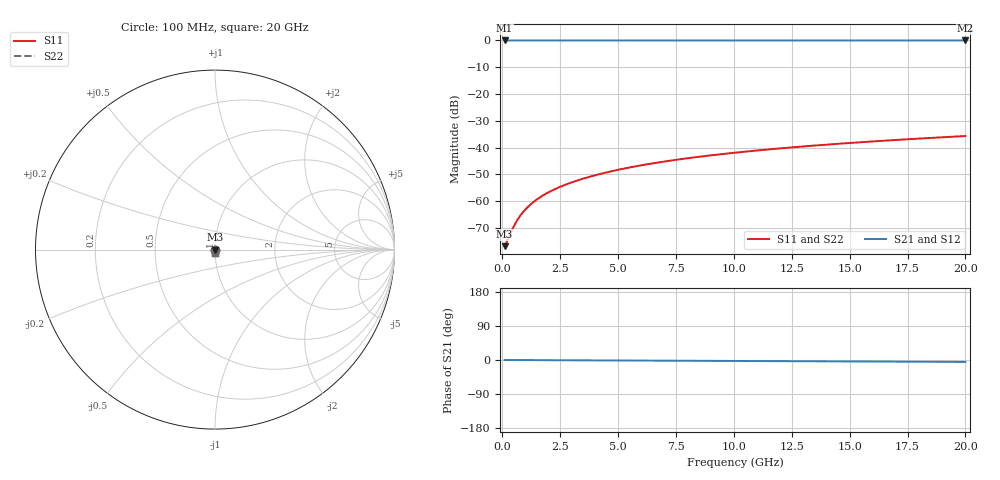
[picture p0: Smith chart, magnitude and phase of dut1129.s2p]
! Touchstone file exported from HFSS 2026.1.0
!  File:  C:/ffzhzh/LocalFiles/Ansys_Project_Files/temp_train_TSV_1129_1783191098_55132.aedt
!  Generated:  02:53:09 AM Jul  5, 2026
!  Design:  TSV
!  Project:  temp_train_TSV_1129_1783191098_55132
! Variables:
!  h_bsmrdl = 2um
!  h_ox = 20um
!  h_rdl = 5um
!  h_sub = 50.31um
!  h_tmrdl = 5um
!  h_tsv = 50.31um
!  h_via = 3um
!  l_bsmrdl = 300um
!  l_sub = 415.56um
!  l_tmrdl = 200um
!  m_sub = 200um
!  pitch = 26.15um
!  r_tsv = 7.78um
!  s_tmrdl = 10um
!  w_bsmrdl = 18um
!  w_sub = 500um
!  w_tmrdl = 12um
!  x_tsv_center1 = 206um
!  x_tsv_center2 = 524um
!  x_tsv_center3 = 736um
!  x_tsv_center4 = 1054um
!  x_tsv_center5 = 1266um
!  x_tsv_center6 = 1584um
# GHz S MA R 50.000000
! Terminal data exported
! Port[1] = TSV1_1_T1
! Port[2] = TSV1_1_T2
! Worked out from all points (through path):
!   200 points, 100 MHz to 20 GHz, reference 50 ohm
!   highest |S21| = 0.00 dB at 100 MHz (marker M1); lowest = 0.0 dB at 20 GHz (marker M2)
!   lowest |S11| = -76.8 dB at 100 MHz (marker M3), VSWR 1.00, Z = 50 - j0.00432 ohm
!   |S11| at or under -10 dB: start of sweep to end of sweep
!   |S22| runs from -76.8 to -35.7 dB; largest |S21 - S12| = 3e-15
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0.1  0.0001441 -17.4  0.9999 -0.0  0.9999 -0.0  0.0001441 -17.4
! Gamma 0 0 0 0
! Port Impedance 50 0 50 0
0.2  0.000175 -31.0  0.9998 -0.1  0.9998 -0.1  0.000175 -31.0
0.4  0.0002764 -47.0  0.9998 -0.1  0.9998 -0.1  0.0002764 -47.0
0.5  0.0003394 -51.9  0.9998 -0.1  0.9998 -0.1  0.0003394 -51.9
0.6  0.0004071 -55.8  0.9998 -0.2  0.9998 -0.2  0.0004071 -55.8
0.7  0.0004779 -59.0  0.9998 -0.2  0.9998 -0.2  0.0004779 -59.0
0.8  0.0005508 -61.7  0.9997 -0.2  0.9997 -0.2  0.0005508 -61.7
1  0.0006999 -65.8  0.9997 -0.3  0.9997 -0.3  0.0006999 -65.8
1.3  0.0009275 -70.1  0.9997 -0.3  0.9997 -0.3  0.0009275 -70.1
1.7  0.001234 -73.9  0.9996 -0.4  0.9996 -0.4  0.001234 -73.9
2.2  0.001619 -76.7  0.9996 -0.6  0.9996 -0.6  0.001619 -76.7
2.8  0.002086 -78.9  0.9996 -0.7  0.9996 -0.7  0.002086 -78.9
3.5  0.002637 -80.6  0.9995 -0.9  0.9995 -0.9  0.002637 -80.6
4.2  0.003196 -81.7  0.9995 -1.1  0.9995 -1.1  0.003196 -81.7
5  0.003844 -82.7  0.9994 -1.3  0.9994 -1.3  0.003844 -82.7
5.9  0.00458 -83.7  0.9994 -1.5  0.9994 -1.5  0.00458 -83.7
6.8  0.005322 -84.5  0.9993 -1.7  0.9993 -1.7  0.005322 -84.5
8.3  0.006567 -85.6  0.9992 -2.1  0.9992 -2.1  0.006567 -85.6
10.1  0.00807 -86.7  0.9991 -2.6  0.9991 -2.6  0.00807 -86.7
13.4  0.01084 -88.4  0.999 -3.4  0.999 -3.4  0.01084 -88.4
16.7  0.01362 -89.8  0.9989 -4.2  0.9989 -4.2  0.01362 -89.8
20  0.01641 -91.0  0.9987 -5.1  0.9987 -5.1  0.01641 -91.0
